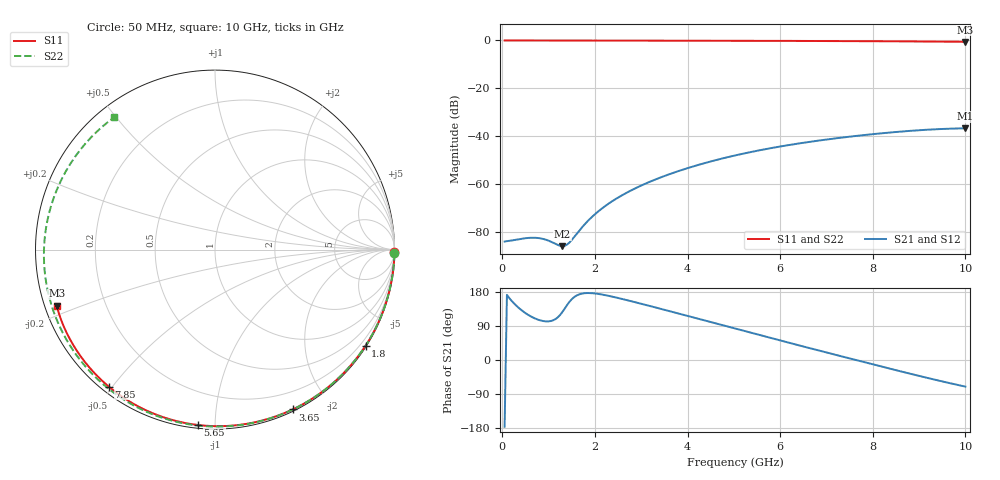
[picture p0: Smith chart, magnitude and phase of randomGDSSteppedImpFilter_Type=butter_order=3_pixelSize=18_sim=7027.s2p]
! freq	dB(S11)	phase(S11)	dB(S12)	phase(S12)
!  dB(S21)	phase(S21)	dB(S22)	phase(S22)
!S-par simulation data
#  GHz  S  DB  R 50
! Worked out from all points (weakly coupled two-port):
!   200 points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, 50 MHz to 10 GHz, reference 50 ohm
!   highest |S21| = -36.79 dB at 10 GHz (marker M1); lowest = -86.1 dB at 1.3 GHz (marker M2)
!   lowest |S11| = -0.6 dB at 10 GHz (marker M3), VSWR 29.91, Z = 1.72 - j8.57 ohm
!   |S11| at or under -10 dB: nowhere
!   |S22| runs from -0.7 to 0.0 dB; largest |S21 - S12| = 0
!   S11 on the Smith chart (normalised r, x): 50 MHz: open; 1.8 GHz: 0.03, -3.43; 3.65 GHz: 0.02, -1.60; 5.65 GHz: 0.02, -0.91; 7.85 GHz: 0.02, -0.49; 10 GHz: 0.03, -0.17
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0.05  -0.00 -0.9  -84.22 -176.1  -84.22 -176.1  -0.00 -1.2
0.65  -0.01 -11.9  -82.61 112.9  -82.61 112.9  -0.02 -16.0
1.3  -0.03 -23.6  -86.14 127.1  -86.14 127.1  -0.04 -31.7
1.65  -0.04 -29.9  -79.92 172.7  -79.92 172.7  -0.05 -40.0
1.75  -0.04 -31.6  -77.62 175.9  -77.62 175.9  -0.05 -42.3
1.8  -0.04 -32.5  -76.55 176.5  -76.55 176.5  -0.06 -43.5
2.1  -0.05 -37.8  -71.14 173.9  -71.14 173.9  -0.06 -50.5
2.45  -0.06 -43.9  -66.38 165.1  -66.38 165.1  -0.07 -58.6
2.9  -0.07 -51.6  -61.66 151.6  -61.66 151.6  -0.09 -68.8
3.4  -0.08 -60.0  -57.50 135.7  -57.50 135.7  -0.10 -79.9
3.65  -0.09 -64.1  -55.72 127.7  -55.72 127.7  -0.11 -85.4
4.35  -0.11 -75.4  -51.47 105.1  -51.47 105.1  -0.14 -100.4
5.05  -0.13 -86.4  -48.05 82.3  -48.05 82.3  -0.18 -115.2
5.65  -0.16 -95.6  -45.63 62.9  -45.63 62.9  -0.21 -127.7
6.7  -0.22 -111.2  -42.28 29.3  -42.28 29.3  -0.29 -149.9
7.3  -0.26 -119.9  -40.75 10.5  -40.75 10.5  -0.34 -162.9
7.85  -0.30 -127.8  -39.53 -6.7  -39.53 -6.7  -0.40 -175.4
8.35  -0.35 -135.0  -38.58 -22.2  -38.58 -22.2  -0.45 172.7
8.8  -0.39 -141.5  -37.86 -36.0  -37.86 -36.0  -0.51 161.4
9.2  -0.44 -147.5  -37.35 -47.9  -37.35 -47.9  -0.56 150.7
9.6  -0.50 -153.7  -36.99 -59.4  -36.99 -59.4  -0.61 139.3
10  -0.58 -160.5  -36.79 -70.3  -36.79 -70.3  -0.66 127.3
